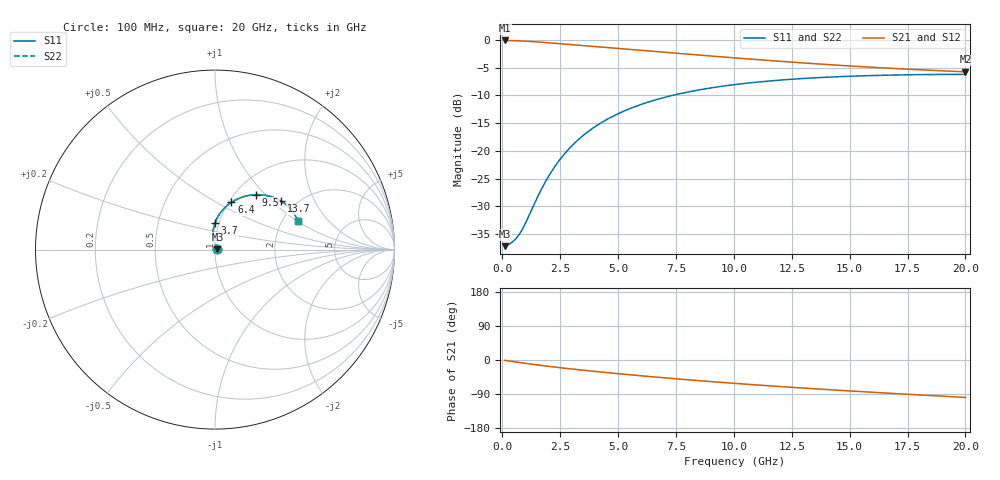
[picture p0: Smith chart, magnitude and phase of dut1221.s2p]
! Touchstone file exported from HFSS 2024.1.0
!  File:  C:/UserFiles/LocalFiles/RDL_TSV_Batchsim/temp_RDL_TSV_1221_1780262000.aedt
!  Generated:  05:32:23 AM Jun  1, 2026
!  Design:  RDL_TSV
!  Project:  temp_RDL_TSV_1221_1780262000
!  Setup:  Setup1
!  Solution:  Sweep
! Variables:
!  dtsv = 7.11um
!  hbump = 3um
!  htsv = 58.51um
!  ldown = 251.45um
!  lrdl = 108.04um
!  p = 40
!  p1 = 55.09um
!  rhole = 10um
!  subl = 1186.51um
!  t = 450um
!  tdown = 2.1um
!  trdl = 2.46um
!  viad = 10um
!  wdown = 12.62um
!  wrdl = 23.56um
!  xbump = 18um
# GHz S MA R 50.000000
! Terminal data exported
! Port[1] = TM1_1_T1
! Port[2] = TM1_4_T1
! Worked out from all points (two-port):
!   200 points, 100 MHz to 20 GHz, reference 50 ohm
!   highest |S21| = -0.12 dB at 100 MHz (marker M1); lowest = -5.8 dB at 20 GHz (marker M2)
!   |S21| within 3 dB of the highest: start of sweep to 9.601 GHz
!   lowest |S11| = -37.2 dB at 100 MHz (marker M3), VSWR 1.03, Z = 51.4 + j0.2 ohm
!   |S11| at or under -10 dB: start of sweep to 7.372 GHz
!   |S22| runs from -37.2 to -6.2 dB; largest |S21 - S12| = 1.9e-14
!   S11 on the Smith chart (normalised r, x): 100 MHz: 1.03, +0.00; 3.7 GHz: 0.96, +0.29; 6.4 GHz: 1.03, +0.59; 9.5 GHz: 1.24, +0.89; 13.7 GHz: 1.68, +1.14; 20 GHz: 2.41, +1.01
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0.1  0.01382 8.1  0.9861 -0.9  0.9861 -0.9  0.01382 8.1
! Gamma 0 0 0 0
! Port Impedance 50 0 50 0
0.5  0.01549 38.5  0.9819 -4.5  0.9819 -4.5  0.01549 38.5
0.8  0.01856 60.4  0.9762 -7.1  0.9762 -7.1  0.01856 60.4
1  0.02223 72.9  0.9714 -8.8  0.9714 -8.8  0.02223 72.9
1.7  0.04552 94.5  0.9502 -14.5  0.9502 -14.5  0.04552 94.5
2  0.05899 96.9  0.9398 -16.8  0.9398 -16.8  0.059 96.9
2.3  0.0737 97.3  0.929 -18.9  0.929 -18.9  0.07371 97.3
2.9  0.1052 95.2  0.9072 -23.1  0.9072 -23.1  0.1052 95.2
3.5  0.1377 91.4  0.8858 -27.0  0.8858 -27.0  0.1378 91.4
3.7  0.1485 90.0  0.8787 -28.3  0.8787 -28.3  0.1486 90.0
4.3  0.1803 85.6  0.8581 -32.0  0.8581 -32.0  0.1804 85.6
4.9  0.2107 81.1  0.8381 -35.5  0.8381 -35.5  0.2108 81.1
5.6  0.2439 76.1  0.8154 -39.5  0.8154 -39.5  0.244 76.2
6.4  0.2787 70.8  0.7902 -43.9  0.7902 -43.9  0.2788 70.8
6.8  0.2948 68.2  0.7779 -46.0  0.7779 -46.0  0.2949 68.2
8.1  0.3411 60.6  0.7395 -52.6  0.7395 -52.6  0.3412 60.6
9.5  0.3815 53.3  0.7007 -59.3  0.7007 -59.3  0.3817 53.3
10.1  0.3962 50.5  0.6851 -62.0  0.6851 -62.0  0.3963 50.5
13.4  0.4531 37.3  0.6104 -75.6  0.6104 -75.6  0.4534 37.3
13.7  0.4567 36.3  0.6046 -76.8  0.6046 -76.8  0.4569 36.3
16.7  0.4804 27.1  0.5545 -87.7  0.5545 -87.7  0.4807 27.1
20  0.4877 19.0  0.5147 -98.8  0.5147 -98.8  0.488 19.0
